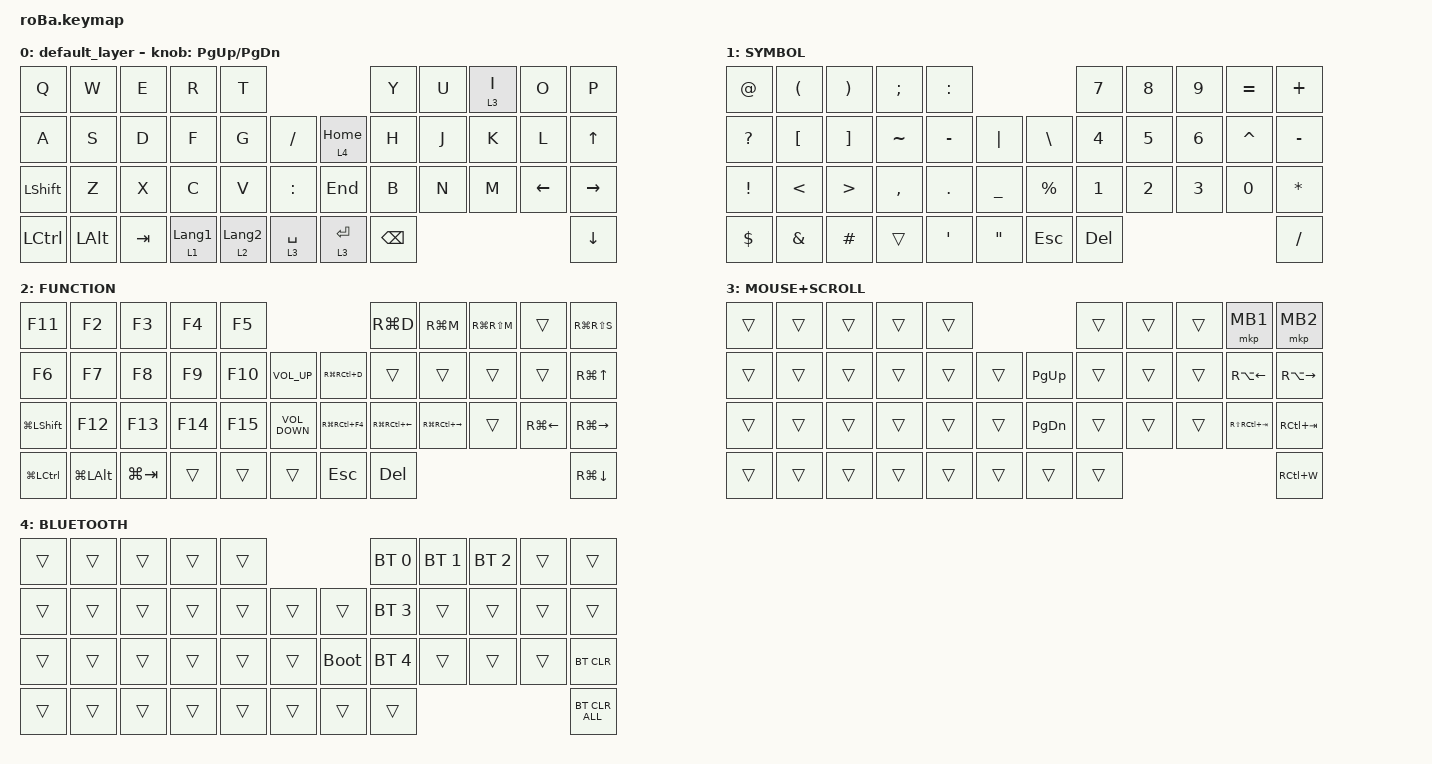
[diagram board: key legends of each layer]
#include <behaviors.dtsi>
#include <dt-bindings/zmk/bt.h>
#include <dt-bindings/zmk/keys.h>
#include <dt-bindings/zmk/pointing.h>

&mt {
    flavor = "balanced";
    quick-tap-ms = <0>;
};

&trackball {
    //automouse-layer = <3>;

    scroll-layers = <3>;

    // arrows {
    //     layers = <3>;
    //     bindings =
    //         <&kp RIGHT_ARROW>,
    //         <&kp LEFT_ARROW>,
    //         <&kp UP_ARROW>,
    //         <&kp DOWN_ARROW>;
    //     tick = <10>;
    //     wait-ms = <5>;
    //     tap-ms = <5>;
    // };
};

/ {
    combos {
        compatible = "zmk,combos";

        tab {
            bindings = <&kp TAB>;
            key-positions = <11 12>;
        };

        shift_tab {
            bindings = <&kp LS(TAB)>;
            key-positions = <12 13>;
        };

        muhennkann {
            bindings = <&to_layer_0 INT_MUHENKAN>;
            key-positions = <11 10>;
        };

        double_quotation {
            bindings = <&kp DOUBLE_QUOTES>;
            key-positions = <20 21>;
        };

        eq {
            bindings = <&kp EQUAL>;
            key-positions = <24 25>;
        };
    };

    macros {
        to_layer_0: to_layer_0 {
            compatible = "zmk,behavior-macro-one-param";
            #binding-cells = <1>;
            bindings = <&to 0 &macro_param_1to1 &kp MACRO_PLACEHOLDER>;
            label = "TO_LAYER_0";
        };
    };

    behaviors {
        lt_to_layer_0: lt_to_layer_0 {
            compatible = "zmk,behavior-hold-tap";
            label = "LAYER_TAP_TO_0";
            bindings = <&mo>, <&to_layer_0>;

            #binding-cells = <2>;
            tapping-term-ms = <200>;
        };
    };

    keymap {
        compatible = "zmk,keymap";

        default_layer {
            bindings = <
&kp Q           &kp W         &kp E    &kp R                        &kp T                                                      &kp Y          &kp U  &lt 3 I  &kp O           &kp P
&kp A           &kp S         &kp D    &kp F                        &kp G                        &kp SLASH        &lt 4 HOME   &kp H          &kp J  &kp K    &kp L           &kp UP_ARROW
&kp LEFT_SHIFT  &kp Z         &kp X    &kp C                        &kp V                        &kp COLON        &kp END      &kp B          &kp N  &kp M    &kp LEFT_ARROW  &kp RIGHT_ARROW
&kp LCTRL       &kp LEFT_ALT  &kp TAB  &lt_to_layer_0 1 LANGUAGE_1  &lt_to_layer_0 2 LANGUAGE_2  &lt 3 SPACE      &lt 3 ENTER  &kp BACKSPACE                                  &kp DOWN_ARROW
            >;

            sensor-bindings = <&inc_dec_kp PG_UP PAGE_DOWN>;
        };

        SYMBOL {
            bindings = <
&kp AT_SIGN      &kp LEFT_PARENTHESIS  &kp RIGHT_PARENTHESIS  &kp SEMICOLON  &kp COLON                                             &kp N7        &kp N8        &kp N9        &kp EQUAL  &kp PLUS
&kp QUESTION     &kp LEFT_BRACKET      &kp RIGHT_BRACKET      &kp TILDE      &kp MINUS       &kp PIPE               &kp BACKSLASH  &kp NUMBER_4  &kp N5        &kp NUMBER_6  &kp CARET  &kp MINUS
&kp EXCLAMATION  &kp LESS_THAN         &kp GREATER_THAN       &kp COMMA      &kp PERIOD      &kp UNDERSCORE         &kp PERCENT    &kp NUMBER_1  &kp NUMBER_2  &kp NUMBER_3  &kp N0     &kp ASTERISK
&kp DOLLAR       &kp AMPERSAND         &kp HASH               &trans         &kp APOSTROPHE  &kp DOUBLE_QUOTES      &kp ESCAPE     &kp DELETE                                           &kp SLASH
            >;
        };

        FUNCTION {
            bindings = <
&kp F11             &kp F2            &kp F3       &kp F4   &kp F5                                          &kp RG(D)               &kp RG(M)                &kp RG(RS(M))  &trans              &kp RG(RS(S))
&kp F6              &kp F7            &kp F8       &kp F9   &kp F10  &kp C_VOLUME_UP        &kp RG(RC(D))   &trans                  &trans                   &trans         &trans              &kp RG(UP_ARROW)
&kp LG(LEFT_SHIFT)  &kp F12           &kp F13      &kp F14  &kp F15  &kp C_VOLUME_DOWN      &kp RG(RC(F4))  &kp RG(RC(LEFT_ARROW))  &kp RG(RC(RIGHT_ARROW))  &trans         &kp RG(LEFT_ARROW)  &kp RG(RIGHT_ARROW)
&kp LG(LCTRL)       &kp LG(LEFT_ALT)  &kp LG(TAB)  &trans   &trans   &trans                 &kp ESCAPE      &kp DELETE                                                                          &kp RG(DOWN_ARROW)
            >;
        };

        MOUSE+SCROLL {
            bindings = <
&trans  &trans  &trans  &trans  &trans                         &trans  &trans  &trans  &mkp MB1            &mkp MB2
&trans  &trans  &trans  &trans  &trans  &trans      &kp PG_UP  &trans  &trans  &trans  &kp RA(LEFT_ARROW)  &kp RA(RIGHT_ARROW)
&trans  &trans  &trans  &trans  &trans  &trans      &kp PG_DN  &trans  &trans  &trans  &kp RS(RC(TAB))     &kp RC(TAB)
&trans  &trans  &trans  &trans  &trans  &trans      &trans     &trans                                      &kp RC(W)
            >;
        };

        BLUETOOTH {
            bindings = <
&trans  &trans  &trans  &trans  &trans                           &bt BT_SEL 0  &bt BT_SEL 1  &bt BT_SEL 2  &trans  &trans
&trans  &trans  &trans  &trans  &trans  &trans      &trans       &bt BT_SEL 3  &trans        &trans        &trans  &trans
&trans  &trans  &trans  &trans  &trans  &trans      &bootloader  &bt BT_SEL 4  &trans        &trans        &trans  &bt BT_CLR
&trans  &trans  &trans  &trans  &trans  &trans      &trans       &trans                                            &bt BT_CLR_ALL
            >;
        };
    };
};
